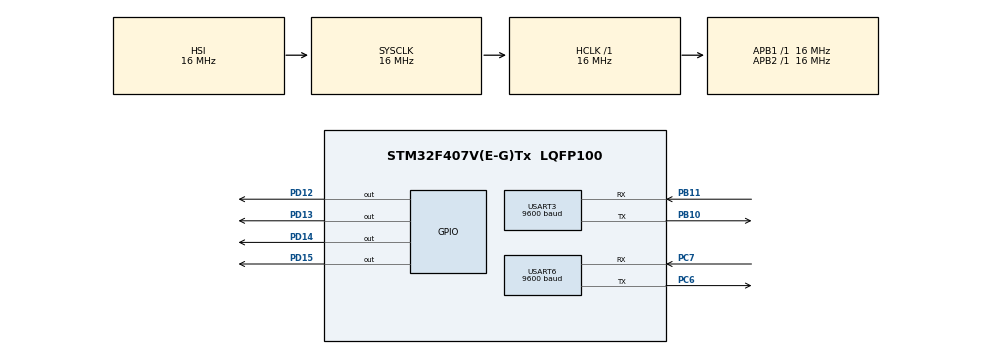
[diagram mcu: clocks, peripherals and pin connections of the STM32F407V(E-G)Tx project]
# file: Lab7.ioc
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Mcu.Family=STM32F4
Mcu.Name=STM32F407V(E-G)Tx
Mcu.Package=LQFP100
NVIC.PriorityGroup=NVIC_PRIORITYGROUP_4
NVIC.TIM4_IRQn=true\:0\:0\:false\:false\:true\:true\:true\:true
NVIC.USART3_IRQn=true\:0\:0\:false\:false\:true\:true\:true\:true
NVIC.USART6_IRQn=true\:0\:0\:false\:false\:true\:true\:true\:true
PB10.Mode=Asynchronous
PB10.Signal=USART3_TX
PB11.Mode=Asynchronous
PB11.Signal=USART3_RX
PC6.Mode=Asynchronous
PC6.Signal=USART6_TX
PC7.Mode=Asynchronous
PC7.Signal=USART6_RX
PD12.Signal=GPIO_Output
PD13.Signal=GPIO_Output
PD14.Signal=GPIO_Output
PD15.Signal=GPIO_Output
ProjectManager.HeapSize=0x200
ProjectManager.StackSize=0x400
ProjectManager.TargetToolchain=STM32CubeIDE
RCC.AHBFreq_Value=16000000
RCC.APB1Freq_Value=16000000
RCC.APB2Freq_Value=16000000
RCC.CortexFreq_Value=16000000
RCC.HSE_VALUE=25000000
RCC.HSI_VALUE=16000000
RCC.LSE_VALUE=32768
RCC.SYSCLKFreq_VALUE=16000000
RCC.VCOOutputFreq_Value=192000000
TIM4.Period=2000-1
TIM4.Prescaler=16000-1
USART3.BaudRate=9600
USART3.VirtualMode=VM_ASYNC
USART6.BaudRate=9600
USART6.VirtualMode=VM_ASYNC
VP_TIM4_VS_ClockSourceINT.Mode=Internal
board=custom

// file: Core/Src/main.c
/* USER CODE BEGIN Header */
/**
  ******************************************************************************
  * @file           : main.c
  * @brief          : Main program body
  ******************************************************************************
  * @attention
  *
  * Copyright (c) 2024 STMicroelectronics.
  * All rights reserved.
  *
  * This software is licensed under terms that can be found in the LICENSE file
  * in the root directory of this software component.
  * If no LICENSE file comes with this software, it is provided AS-IS.
  *
  ******************************************************************************
  */
/* USER CODE END Header */
#include "main.h"

TIM_HandleTypeDef htim4;

UART_HandleTypeDef huart3;
UART_HandleTypeDef huart6;

/* USER CODE BEGIN PV */
int uzdNr = 2;
uint8_t txData[4] = {0x07, 0x03, 0x01, 0};
uint8_t rxData;
uint8_t index = 0;
/* USER CODE END PV */

void SystemClock_Config(void);
static void MX_GPIO_Init(void);
static void MX_USART3_UART_Init(void);
static void MX_USART6_UART_Init(void);
static void MX_TIM4_Init(void);

int main(void)
{

  /* MCU Configuration--------------------------------------------------------*/

  /* Reset of all peripherals, Initializes the Flash interface and the Systick. */
  HAL_Init();

  /* Configure the system clock */
  SystemClock_Config();

  /* Initialize all configured peripherals */
  MX_GPIO_Init();
  MX_USART3_UART_Init();
  MX_USART6_UART_Init();
  MX_TIM4_Init();
  /* USER CODE BEGIN 2 */
  if(uzdNr == 2){
	  HAL_TIM_Base_Start_IT(&htim4);
	  HAL_UART_Receive_IT(&huart6, &rxData, 1);
  }
  /* USER CODE END 2 */

  /* Infinite loop */
  /* USER CODE BEGIN WHILE */
  while (1) {
	 if(uzdNr == 1){
		for(int i = 0; i < sizeof(txData); i++){
			if(HAL_UART_Transmit(&huart3, &txData[i], 1, 1000) == HAL_OK){
				if(HAL_UART_Receive(&huart6, &rxData, 1, 1000) == HAL_OK){
			        HAL_GPIO_WritePin(GPIOD, GPIO_PIN_12 | GPIO_PIN_13 | GPIO_PIN_14 | GPIO_PIN_15, GPIO_PIN_RESET);

					switch(rxData) {
						case 0: HAL_GPIO_WritePin(GPIOD, GPIO_PIN_12, GPIO_PIN_SET); break;
						case 1: HAL_GPIO_WritePin(GPIOD, GPIO_PIN_13, GPIO_PIN_SET); break;
						case 3: HAL_GPIO_WritePin(GPIOD, GPIO_PIN_14, GPIO_PIN_SET); break;
						case 7: HAL_GPIO_WritePin(GPIOD, GPIO_PIN_15, GPIO_PIN_SET); break;
					}
				}
			}
			HAL_Delay(2000);
		}
	 }

    /* USER CODE END WHILE */

  }
}

void SystemClock_Config(void)
{
  RCC_OscInitTypeDef RCC_OscInitStruct = {0};
  RCC_ClkInitTypeDef RCC_ClkInitStruct = {0};

  /** Configure the main internal regulator output voltage
  */
  __HAL_RCC_PWR_CLK_ENABLE();
  __HAL_PWR_VOLTAGESCALING_CONFIG(PWR_REGULATOR_VOLTAGE_SCALE1);

  /** Initializes the RCC Oscillators according to the specified parameters
  * in the RCC_OscInitTypeDef structure.
  */
  RCC_OscInitStruct.OscillatorType = RCC_OSCILLATORTYPE_HSI;
  RCC_OscInitStruct.HSIState = RCC_HSI_ON;
  RCC_OscInitStruct.HSICalibrationValue = RCC_HSICALIBRATION_DEFAULT;
  RCC_OscInitStruct.PLL.PLLState = RCC_PLL_NONE;
  if (HAL_RCC_OscConfig(&RCC_OscInitStruct) != HAL_OK)
  {
    Error_Handler();
  }

  /** Initializes the CPU, AHB and APB buses clocks
  */
  RCC_ClkInitStruct.ClockType = RCC_CLOCKTYPE_HCLK|RCC_CLOCKTYPE_SYSCLK
                              |RCC_CLOCKTYPE_PCLK1|RCC_CLOCKTYPE_PCLK2;
  RCC_ClkInitStruct.SYSCLKSource = RCC_SYSCLKSOURCE_HSI;
  RCC_ClkInitStruct.AHBCLKDivider = RCC_SYSCLK_DIV1;
  RCC_ClkInitStruct.APB1CLKDivider = RCC_HCLK_DIV1;
  RCC_ClkInitStruct.APB2CLKDivider = RCC_HCLK_DIV1;

  if (HAL_RCC_ClockConfig(&RCC_ClkInitStruct, FLASH_LATENCY_0) != HAL_OK)
  {
    Error_Handler();
  }
}

static void MX_TIM4_Init(void)
{

  TIM_ClockConfigTypeDef sClockSourceConfig = {0};
  TIM_MasterConfigTypeDef sMasterConfig = {0};

  htim4.Instance = TIM4;
  htim4.Init.Prescaler = 16000-1;
  htim4.Init.CounterMode = TIM_COUNTERMODE_UP;
  htim4.Init.Period = 2000-1;
  htim4.Init.ClockDivision = TIM_CLOCKDIVISION_DIV1;
  htim4.Init.AutoReloadPreload = TIM_AUTORELOAD_PRELOAD_DISABLE;
  if (HAL_TIM_Base_Init(&htim4) != HAL_OK)
  {
    Error_Handler();
  }
  sClockSourceConfig.ClockSource = TIM_CLOCKSOURCE_INTERNAL;
  if (HAL_TIM_ConfigClockSource(&htim4, &sClockSourceConfig) != HAL_OK)
  {
    Error_Handler();
  }
  sMasterConfig.MasterOutputTrigger = TIM_TRGO_RESET;
  sMasterConfig.MasterSlaveMode = TIM_MASTERSLAVEMODE_DISABLE;
  if (HAL_TIMEx_MasterConfigSynchronization(&htim4, &sMasterConfig) != HAL_OK)
  {
    Error_Handler();
  }

}

static void MX_USART3_UART_Init(void)
{

  huart3.Instance = USART3;
  huart3.Init.BaudRate = 9600;
  huart3.Init.WordLength = UART_WORDLENGTH_8B;
  huart3.Init.StopBits = UART_STOPBITS_1;
  huart3.Init.Parity = UART_PARITY_NONE;
  huart3.Init.Mode = UART_MODE_TX_RX;
  huart3.Init.HwFlowCtl = UART_HWCONTROL_NONE;
  huart3.Init.OverSampling = UART_OVERSAMPLING_16;
  if (HAL_UART_Init(&huart3) != HAL_OK)
  {
    Error_Handler();
  }

}

static void MX_USART6_UART_Init(void)
{

  huart6.Instance = USART6;
  huart6.Init.BaudRate = 9600;
  huart6.Init.WordLength = UART_WORDLENGTH_8B;
  huart6.Init.StopBits = UART_STOPBITS_1;
  huart6.Init.Parity = UART_PARITY_NONE;
  huart6.Init.Mode = UART_MODE_TX_RX;
  huart6.Init.HwFlowCtl = UART_HWCONTROL_NONE;
  huart6.Init.OverSampling = UART_OVERSAMPLING_16;
  if (HAL_UART_Init(&huart6) != HAL_OK)
  {
    Error_Handler();
  }

}

static void MX_GPIO_Init(void)
{
  GPIO_InitTypeDef GPIO_InitStruct = {0};

  /* GPIO Ports Clock Enable */
  __HAL_RCC_GPIOB_CLK_ENABLE();
  __HAL_RCC_GPIOD_CLK_ENABLE();
  __HAL_RCC_GPIOC_CLK_ENABLE();

  /*Configure GPIO pin Output Level */
  HAL_GPIO_WritePin(GPIOD, GPIO_PIN_12|GPIO_PIN_13|GPIO_PIN_14|GPIO_PIN_15, GPIO_PIN_RESET);

  /*Configure GPIO pins : PD12 PD13 PD14 PD15 */
  GPIO_InitStruct.Pin = GPIO_PIN_12|GPIO_PIN_13|GPIO_PIN_14|GPIO_PIN_15;
  GPIO_InitStruct.Mode = GPIO_MODE_OUTPUT_PP;
  GPIO_InitStruct.Pull = GPIO_NOPULL;
  GPIO_InitStruct.Speed = GPIO_SPEED_FREQ_LOW;
  HAL_GPIO_Init(GPIOD, &GPIO_InitStruct);

}

/* USER CODE BEGIN 4 */
void HAL_UART_RxCpltCallback(UART_HandleTypeDef *huart) {
//   	HAL_GPIO_TogglePin(GPIOD, GPIO_PIN_14);
	if(uzdNr == 2){
		if(huart->Instance == USART6) {
			HAL_UART_Receive_IT(&huart6, &rxData, 1);
			HAL_GPIO_WritePin(GPIOD, GPIO_PIN_12 | GPIO_PIN_13 | GPIO_PIN_14 | GPIO_PIN_15, GPIO_PIN_RESET);

			switch(rxData) {
				case 0: HAL_GPIO_WritePin(GPIOD, GPIO_PIN_12, GPIO_PIN_SET); break;
				case 1: HAL_GPIO_WritePin(GPIOD, GPIO_PIN_13, GPIO_PIN_SET); break;
				case 3: HAL_GPIO_WritePin(GPIOD, GPIO_PIN_14, GPIO_PIN_SET); break;
				case 7: HAL_GPIO_WritePin(GPIOD, GPIO_PIN_15, GPIO_PIN_SET); break;
			}

		}
	}
}

void HAL_TIM_PeriodElapsedCallback(TIM_HandleTypeDef *htim) {
    if(htim->Instance == TIM4) {
    	if(uzdNr == 2){
			if(index < sizeof(txData)) {
				HAL_UART_Transmit_IT(&huart3, &txData[index], 1);
				index++;
			} else {
				index = 0;
			}
		}
    }
}

/* USER CODE END 4 */

void Error_Handler(void)
{
  __disable_irq();
  while (1)
  {
  }
}
